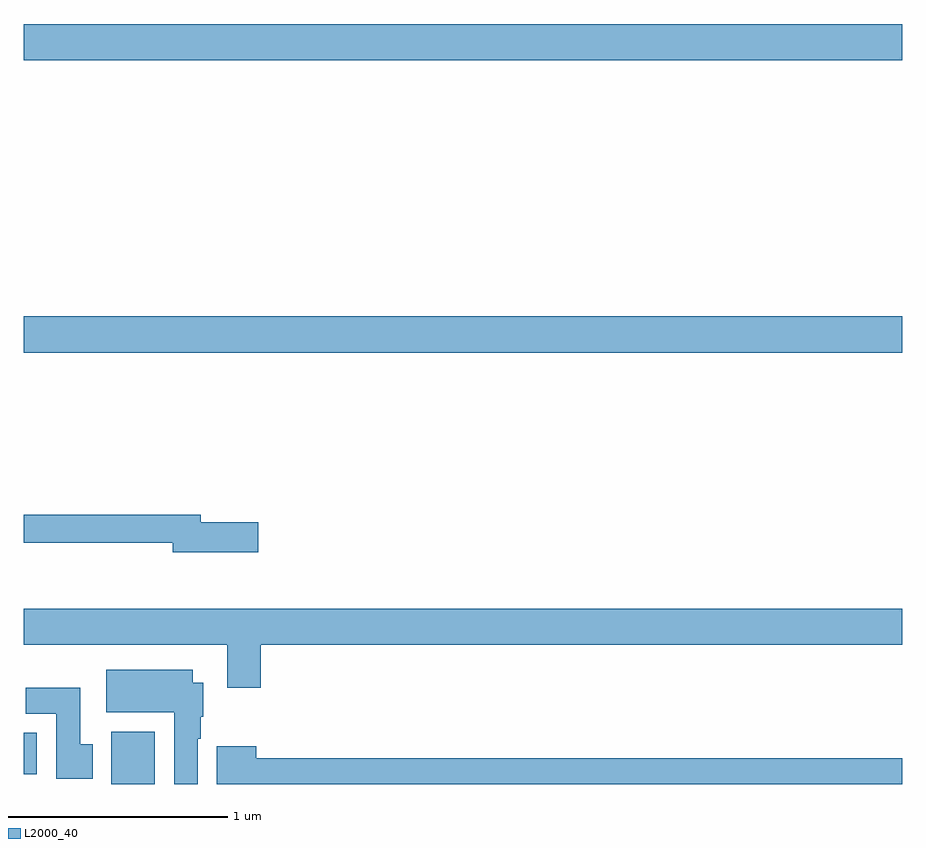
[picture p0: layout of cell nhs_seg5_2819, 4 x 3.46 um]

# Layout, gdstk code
import gdstk
lib = gdstk.Library(unit=1e-6, precision=1e-09)
def R(c, l, rs):  # rectangles x0, y0, x1, y1
    for r in rs: c.add(gdstk.rectangle(r[:2], r[2:], *l))
def P(c, l, *ps):  # polygons
    for p in ps: c.add(gdstk.Polygon(p, *l))
L2000_40 = (2000, 40)

nhs_seg5_2819 = lib.new_cell('nhs_seg5_2819')
R(nhs_seg5_2819, L2000_40, [(275.399,850.799,275.596,851.038), (275,850.844,275.059,851.032), (275,852.764,279,852.928), (275,854.096,279,854.26)])
P(nhs_seg5_2819, L2000_40, [(276.067,851.99),(275.806,851.99),(275.806,852.026),(275,852.026),(275,851.898),(275.678,851.898),(275.678,851.855),(276.067,851.855)],
  [(276.08,851.432),(279,851.432),(279,851.596),(275,851.596),(275,851.432),(275.927,851.432),(275.927,851.238),(276.08,851.238)],
  [(275.791,851.006),(275.806,851.006),(275.806,851.106),(275.818,851.106),(275.818,851.26),(275.77,851.26),(275.77,851.32),(275.375,851.32),(275.375,851.126),(275.684,851.126),(275.684,850.799),(275.791,850.799)],
  [(275.314,850.98),(275.257,850.98),(275.257,851.238),(275.008,851.238),(275.008,851.12),(275.147,851.12),(275.147,850.824),(275.314,850.824)],
  [(279,850.916),(276.058,850.916),(276.058,850.972),(275.879,850.972),(275.879,850.799),(279,850.799)])

lib.write_gds('nhs_seg5_2819.gds')
